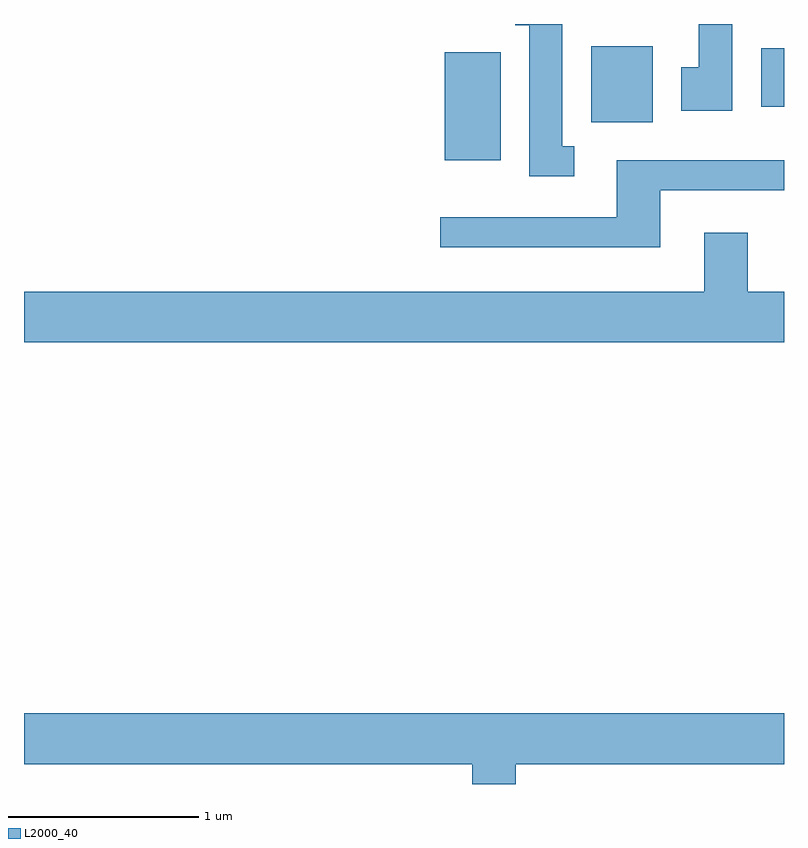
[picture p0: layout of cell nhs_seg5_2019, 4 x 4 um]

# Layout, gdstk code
import gdstk
lib = gdstk.Library(unit=1e-6, precision=1e-09)
def R(c, l, rs):  # rectangles x0, y0, x1, y1
    for r in rs: c.add(gdstk.rectangle(r[:2], r[2:], *l))
def P(c, l, *ps):  # polygons
    for p in ps: c.add(gdstk.Polygon(p, *l))
L2000_40 = (2000, 40)

nhs_seg5_2019 = lib.new_cell('nhs_seg5_2019')
R(nhs_seg5_2019, L2000_40, [(247.826,1413.356,248.119,1413.924), (248.596,1413.556,248.919,1413.954), (249.491,1413.636,249.611,1413.944)])
P(nhs_seg5_2019, L2000_40, [(249.339,1414.072),(249.161,1414.072),(249.161,1413.844),(249.071,1413.844),(249.071,1413.616),(249.339,1413.616)],
  [(248.508,1413.429),(248.444,1413.429),(248.444,1414.072),(248.196,1414.072),(248.196,1414.066),(248.271,1414.066),(248.271,1413.271),(248.508,1413.271)],
  [(248.959,1413.196),(249.611,1413.196),(249.611,1413.354),(248.731,1413.354),(248.731,1413.054),(247.803,1413.054),(247.803,1412.896),(248.959,1412.896)],
  [(249.611,1412.664),(249.419,1412.664),(249.419,1412.974),(249.191,1412.974),(249.191,1412.664),(245.611,1412.664),(245.611,1412.396),(249.611,1412.396)],
  [(248.199,1410.176),(249.611,1410.176),(249.611,1410.444),(245.611,1410.444),(245.611,1410.176),(247.971,1410.176),(247.971,1410.072),(248.199,1410.072)])

lib.write_gds('nhs_seg5_2019.gds')
